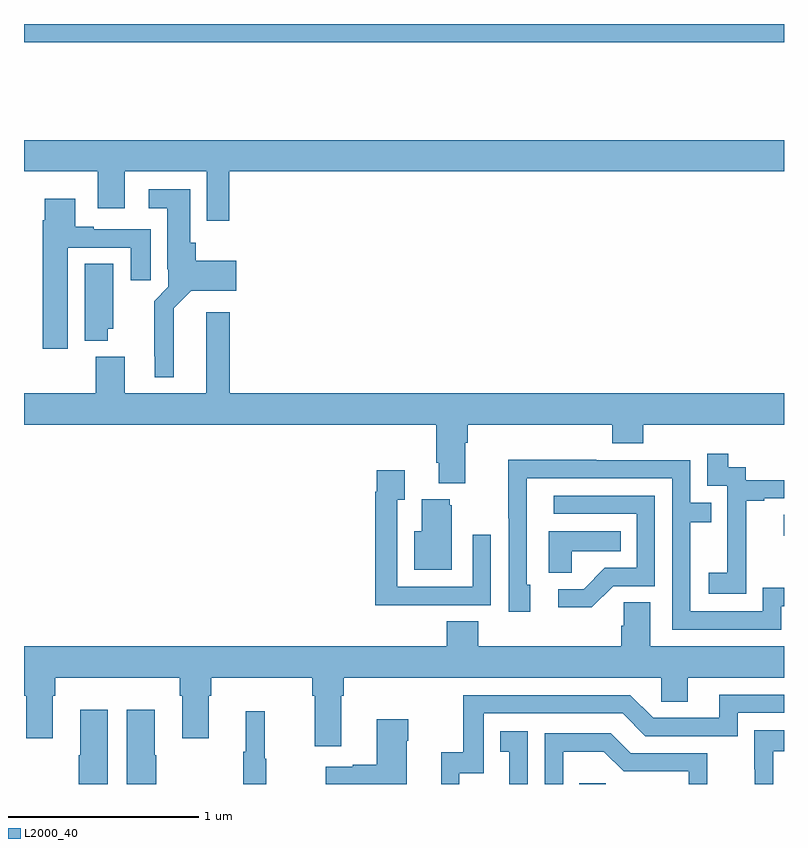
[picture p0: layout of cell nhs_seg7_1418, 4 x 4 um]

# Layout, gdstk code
import gdstk
lib = gdstk.Library(unit=1e-6, precision=1e-09)
def R(c, l, rs):  # rectangles x0, y0, x1, y1
    for r in rs: c.add(gdstk.rectangle(r[:2], r[2:], *l))
def P(c, l, *ps):  # polygons
    for p in ps: c.add(gdstk.Polygon(p, *l))
L2000_40 = (2000, 40)

nhs_seg7_1418 = lib.new_cell('nhs_seg7_1418')
R(nhs_seg7_1418, L2000_40, [(209.923,1056,210.063,1056.003), (210.999,1057.307,211,1057.417), (207,1059.904,211,1060)])
P(nhs_seg7_1418, L2000_40, [(208.079,1059.224),(211,1059.224),(211,1059.388),(207,1059.388),(207,1059.224),(207.389,1059.224),(207.389,1059.03),(207.529,1059.03),(207.529,1059.224),(207.963,1059.224),(207.963,1058.964),(208.079,1058.964)],
  [(207.787,1058.504),(207.879,1058.597),(208.117,1058.597),(208.117,1058.755),(207.905,1058.755),(207.905,1058.85),(207.874,1058.85),(207.874,1059.13),(207.657,1059.13),(207.657,1059.029),(207.755,1059.029),(207.755,1058.71),(207.759,1058.71),(207.759,1058.616),(207.685,1058.542),(207.685,1058.251),(207.689,1058.251),(207.689,1058.141),(207.787,1058.141)],
  [(207.229,1058.823),(207.563,1058.823),(207.563,1058.652),(207.667,1058.652),(207.667,1058.919),(207.367,1058.919),(207.367,1058.932),(207.271,1058.932),(207.271,1059.079),(207.11,1059.079),(207.11,1058.966),(207.098,1058.966),(207.098,1058.292),(207.229,1058.292)],
  [(207.442,1058.397),(207.469,1058.397),(207.469,1058.738),(207.32,1058.738),(207.32,1058.333),(207.442,1058.333)],
  [(209.323,1057.796),(209.336,1057.796),(209.336,1057.892),(210.095,1057.892),(210.095,1057.793),(210.26,1057.793),(210.26,1057.892),(211,1057.892),(211,1058.056),(208.082,1058.056),(208.082,1058.482),(207.959,1058.482),(207.959,1058.056),(207.529,1058.056),(207.529,1058.248),(207.377,1058.248),(207.377,1058.056),(207,1058.056),(207,1057.892),(209.171,1057.892),(209.171,1057.69),(209.183,1057.69),(209.183,1057.583),(209.323,1057.583)],
  [(210.801,1057.207),(210.8,1057.207),(210.8,1057.491),(210.895,1057.491),(210.895,1057.503),(211,1057.503),(211,1057.599),(210.798,1057.599),(210.798,1057.668),(210.706,1057.668),(210.706,1057.738),(210.597,1057.738),(210.597,1057.569),(210.702,1057.569),(210.702,1057.34),(210.701,1057.34),(210.701,1057.111),(210.603,1057.111),(210.603,1057.001),(210.801,1057.001)],
  [(210.985,1056.936),(211,1056.936),(211,1057.032),(210.888,1057.032),(210.888,1056.909),(210.507,1056.909),(210.507,1057.378),(210.617,1057.378),(210.617,1057.479),(210.507,1057.479),(210.507,1057.704),(210.011,1057.704),(210.011,1057.706),(209.548,1057.706),(209.548,1057.399),(209.55,1057.399),(209.55,1056.906),(209.665,1056.906),(209.665,1057.05),(209.646,1057.05),(209.646,1057.608),(210.411,1057.608),(210.411,1056.813),(210.985,1056.813)],
  [(209.141,1056.942),(209.457,1056.942),(209.457,1057.312),(209.361,1057.312),(209.361,1057.038),(208.965,1057.038),(208.965,1057.495),(209.005,1057.495),(209.005,1057.651),(208.857,1057.651),(208.857,1057.538),(208.849,1057.538),(208.849,1056.941),(209.141,1056.941)],
  [(210.102,1057.041),(210.321,1057.041),(210.321,1057.518),(209.787,1057.518),(209.787,1057.422),(210.225,1057.422),(210.225,1057.137),(210.056,1057.137),(209.945,1057.026),(209.811,1057.026),(209.811,1056.929),(209.989,1056.929)],
  [(209.251,1057.467),(209.24,1057.467),(209.24,1057.498),(209.093,1057.498),(209.093,1057.33),(209.054,1057.33),(209.054,1057.127),(209.251,1057.127)],
  [(209.883,1057.226),(210.14,1057.226),(210.14,1057.33),(209.762,1057.33),(209.762,1057.111),(209.883,1057.111)],
  [(207,1056.464),(207.011,1056.464),(207.011,1056.24),(207.151,1056.24),(207.151,1056.464),(207.164,1056.464),(207.164,1056.56),(207.821,1056.56),(207.821,1056.464),(207.833,1056.464),(207.833,1056.24),(207.973,1056.24),(207.973,1056.464),(207.986,1056.464),(207.986,1056.56),(208.517,1056.56),(208.517,1056.464),(208.529,1056.464),(208.529,1056.198),(208.669,1056.198),(208.669,1056.464),(208.682,1056.464),(208.682,1056.56),(210.354,1056.56),(210.354,1056.433),(210.493,1056.433),(210.493,1056.56),(211,1056.56),(211,1056.724),(210.295,1056.724),(210.295,1056.956),(210.156,1056.956),(210.156,1056.833),(210.143,1056.833),(210.143,1056.724),(209.39,1056.724),(209.39,1056.857),(209.225,1056.857),(209.225,1056.724),(207,1056.724)],
  [(209.292,1056.057),(209.421,1056.057),(209.421,1056.372),(210.15,1056.372),(210.27,1056.252),(210.756,1056.252),(210.756,1056.375),(211,1056.375),(211,1056.471),(210.659,1056.471),(210.659,1056.348),(210.312,1056.348),(210.192,1056.468),(209.313,1056.468),(209.313,1056.166),(209.195,1056.166),(209.195,1056),(209.292,1056)],
  [(207.442,1056.391),(207.296,1056.391),(207.296,1056.152),(207.289,1056.152),(207.289,1056),(207.442,1056)],
  [(207.696,1056.152),(207.688,1056.152),(207.688,1056.391),(207.542,1056.391),(207.542,1056),(207.696,1056)],
  [(208.276,1056.132),(208.268,1056.132),(208.268,1056.382),(208.166,1056.382),(208.166,1056.169),(208.155,1056.169),(208.155,1056),(208.276,1056)],
  [(209.014,1056.227),(209.022,1056.227),(209.022,1056.34),(208.856,1056.34),(208.856,1056.101),(208.73,1056.101),(208.73,1056.091),(208.587,1056.091),(208.587,1056),(209.014,1056)],
  [(210.944,1056.173),(211,1056.173),(211,1056.283),(210.844,1056.283),(210.844,1056.077),(210.845,1056.077),(210.845,1056),(210.944,1056)],
  [(209.652,1056.277),(209.506,1056.277),(209.506,1056.171),(209.555,1056.171),(209.555,1056),(209.652,1056)],
  [(209.838,1056.17),(210.052,1056.17),(210.156,1056.066),(210.498,1056.066),(210.498,1056),(210.597,1056),(210.597,1056.162),(210.193,1056.162),(210.088,1056.267),(209.742,1056.267),(209.742,1056),(209.838,1056)])

lib.write_gds('nhs_seg7_1418.gds')
